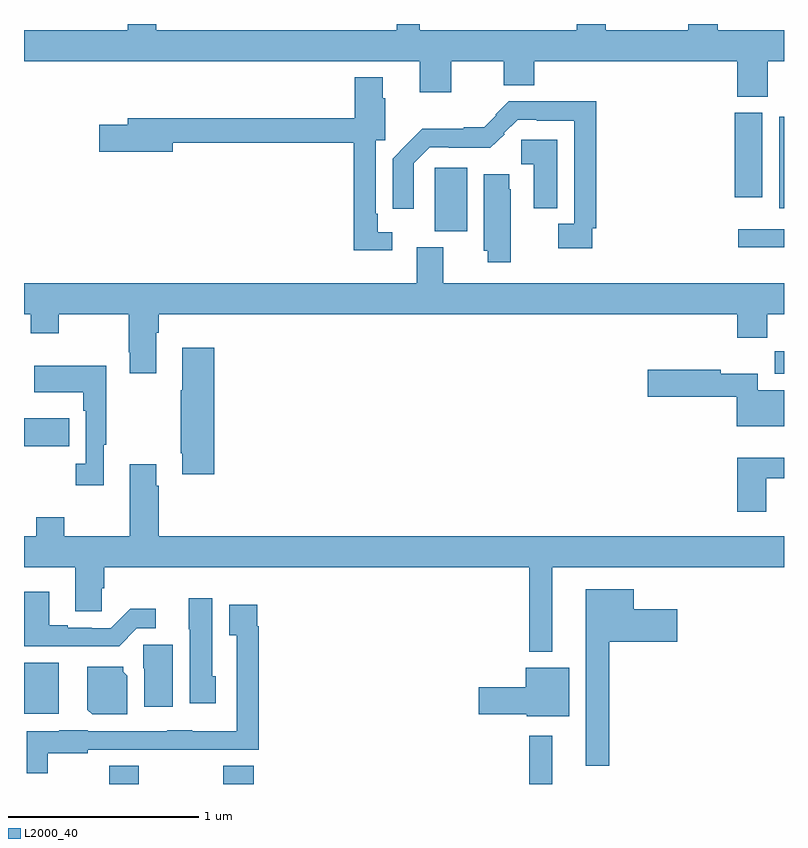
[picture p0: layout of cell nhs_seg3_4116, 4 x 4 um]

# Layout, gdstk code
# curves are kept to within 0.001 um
import gdstk
lib = gdstk.Library(unit=1e-6, precision=1e-09)
def R(c, l, rs):  # rectangles x0, y0, x1, y1
    for r in rs: c.add(gdstk.rectangle(r[:2], r[2:], *l))
def P(c, l, *ps):  # polygons
    for p in ps: c.add(gdstk.Polygon(p, *l))
L2000_40 = (2000, 40)

nhs_seg3_4116 = lib.new_cell('nhs_seg3_4116')
R(nhs_seg3_4116, L2000_40, [(327.448,742.4,327.603,742.496), (328.048,742.4,328.208,742.496), (329.658,742.4,329.779,742.654), (327,742.769,327.184,743.038), (327,744.178,327.239,744.325), (330.952,744.56,331,744.678), (330.759,745.224,331,745.32), (329.162,745.31,329.332,745.644), (330.974,745.43,331,745.912), (330.74,745.488,330.886,745.932)])
P(nhs_seg3_4116, L2000_40, [(330.915,746.204),(331,746.204),(331,746.368),(330.65,746.368),(330.65,746.4),(330.497,746.4),(330.497,746.368),(330.061,746.368),(330.061,746.4),(329.909,746.4),(329.909,746.368),(329.083,746.368),(329.083,746.4),(328.961,746.4),(328.961,746.368),(327.697,746.368),(327.697,746.4),(327.545,746.4),(327.545,746.368),(327,746.368),(327,746.204),(329.084,746.204),(329.084,746.04),(329.248,746.04),(329.248,746.204),(329.525,746.204),(329.525,746.078),(329.686,746.078),(329.686,746.204),(330.755,746.204),(330.755,746.017),(330.915,746.017)],
  [(328.939,745.305),(328.863,745.305),(328.863,745.402),(328.851,745.402),(328.851,745.788),(328.901,745.788),(328.901,746.009),(328.888,746.009),(328.888,746.119),(328.742,746.119),(328.742,745.903),(327.545,745.903),(327.545,745.869),(327.396,745.869),(327.396,745.727),(327.784,745.727),(327.784,745.774),(328.735,745.774),(328.735,745.208),(328.939,745.208)],
  [(329.991,745.324),(330.011,745.324),(330.011,745.993),(329.551,745.993),(329.481,745.923),(329.485,745.919),(329.423,745.857),(329.315,745.857),(329.315,745.849),(329.095,745.849),(328.94,745.692),(328.94,745.428),(329.052,745.428),(329.052,745.668),(329.136,745.752),(329.236,745.752),(329.236,745.748),(329.455,745.748),(329.529,745.821),(329.526,745.824),(329.598,745.896),(329.698,745.896),(329.698,745.892),(329.895,745.892),(329.895,745.348),(329.812,745.348),(329.812,745.22),(329.991,745.22)],
  [(329.806,745.79),(329.616,745.79),(329.616,745.661),(329.684,745.661),(329.684,745.429),(329.806,745.429)],
  [(329.563,745.53),(329.554,745.53),(329.554,745.609),(329.42,745.609),(329.42,745.206),(329.441,745.206),(329.441,745.146),(329.563,745.146)],
  [(327.697,744.776),(327.71,744.776),(327.71,744.872),(330.755,744.872),(330.755,744.748),(330.911,744.748),(330.911,744.872),(331,744.872),(331,745.036),(329.206,745.036),(329.206,745.225),(329.066,745.225),(329.066,745.036),(327,745.036),(327,744.872),(327.036,744.872),(327.036,744.773),(327.183,744.773),(327.183,744.872),(327.55,744.872),(327.55,744.673),(327.557,744.673),(327.557,744.561),(327.697,744.561)],
  [(328.001,744.697),(327.833,744.697),(327.833,744.473),(327.826,744.473),(327.826,744.142),(327.833,744.142),(327.833,744.03),(328.001,744.03)],
  [(327.421,744.185),(327.433,744.185),(327.433,744.601),(327.055,744.601),(327.055,744.461),(327.312,744.461),(327.312,744.365),(327.324,744.365),(327.324,744.086),(327.273,744.086),(327.273,743.973),(327.421,743.973)],
  [(331,744.472),(330.862,744.472),(330.862,744.559),(330.666,744.559),(330.666,744.579),(330.282,744.579),(330.282,744.437),(330.752,744.437),(330.752,744.284),(331,744.284)],
  [(330.907,744.009),(331,744.009),(331,744.118),(330.755,744.118),(330.755,743.832),(330.907,743.832)],
  [(329.779,743.54),(331,743.54),(331,743.704),(327.71,743.704),(327.71,743.969),(327.697,743.969),(327.697,744.082),(327.557,744.082),(327.557,743.704),(327.213,743.704),(327.213,743.803),(327.065,743.803),(327.065,743.704),(327,743.704),(327,743.54),(327.269,743.54),(327.269,743.308),(327.408,743.308),(327.408,743.43),(327.422,743.43),(327.422,743.54),(329.658,743.54),(329.658,743.096),(329.779,743.096)],
  [(330.079,743.15),(330.439,743.15),(330.439,743.32),(330.208,743.32),(330.208,743.425),(329.957,743.425),(329.957,742.497),(330.079,742.497)],
  [(327.594,743.22),(327.694,743.22),(327.694,743.323),(327.559,743.323),(327.456,743.22),(327.356,743.22),(327.356,743.223),(327.229,743.223),(327.229,743.236),(327.133,743.236),(327.133,743.413),(327,743.413),(327,743.126),(327.5,743.126)],
  [(328.009,742.968),(327.991,742.968),(327.991,743.377),(327.866,743.377),(327.866,743.214),(327.872,743.214),(327.872,742.824),(328.009,742.824)],
  [(327.124,742.562),(327.336,742.562),(327.336,742.581),(327.753,742.581),(327.753,742.58),(327.985,742.58),(327.985,742.581),(328.235,742.581),(328.235,743.231),(328.228,743.231),(328.228,743.344),(328.079,743.344),(328.079,743.183),(328.119,743.183),(328.119,742.678),(327.885,742.678),(327.885,742.684),(327.753,742.684),(327.753,742.677),(327.336,742.677),(327.336,742.684),(327.186,742.684),(327.186,742.678),(327.015,742.678),(327.015,742.457),(327.124,742.457)],
  [(327.784,743.133),(327.628,743.133),(327.628,743.01),(327.632,743.01),(327.632,742.806),(327.784,742.806)],
  [(327.544,742.97),(327.522,742.992),(327.522,743.017),(327.332,743.017),(327.332,742.792),(327.358,742.766),(327.544,742.766)],
  [(329.869,743.011),(329.642,743.011),(329.642,742.91),(329.394,742.91),(329.394,742.768),(329.646,742.768),(329.646,742.757),(329.869,742.757)])

lib.write_gds('nhs_seg3_4116.gds')
